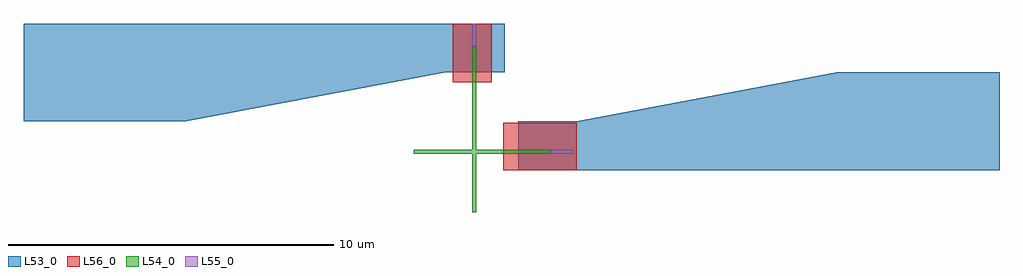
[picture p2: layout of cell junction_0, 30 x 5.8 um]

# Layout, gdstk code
import gdstk
lib = gdstk.Library(unit=1e-6, precision=1e-09)
def R(c, l, rs):  # rectangles x0, y0, x1, y1
    for r in rs: c.add(gdstk.rectangle(r[:2], r[2:], *l))
def P(c, l, *ps):  # polygons
    for p in ps: c.add(gdstk.Polygon(p, *l))
L53_0 = (53, 0)
L54_0 = (54, 0)
L55_0 = (55, 0)
L56_0 = (56, 0)

junction_0 = lib.new_cell('junction_0')
R(junction_0, L53_0, [(0.2,-1.5,2,0), (-2,1.5,-0.2,3)])
P(junction_0, L53_0, [(-15,0),(-10,0),(-2,1.5),(-2,3),(-15,3)],
  [(2,-1.5),(15,-1.5),(15,1.5),(10,1.5),(2,0)])
R(junction_0, L54_0, [(-1.2,-2.8,-1.08,2.3), (-3,-1,1.2,-0.88)])
R(junction_0, L55_0, [(1.2,-1,1.9,-0.88), (-1.2,2.3,-1.08,3)])
R(junction_0, L56_0, [(-0.25,-1.5,2,-0.04), (-1.8,1.2,-0.6,3)])

lib.write_gds('junction_0.gds')
